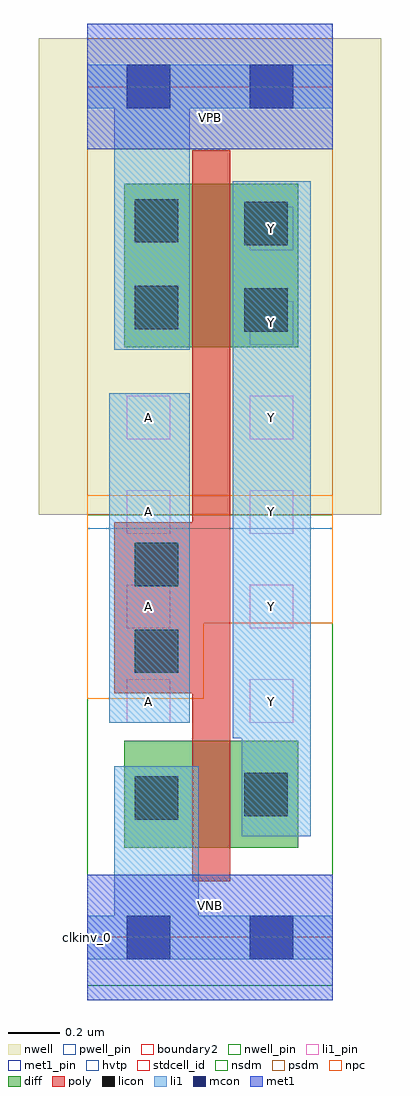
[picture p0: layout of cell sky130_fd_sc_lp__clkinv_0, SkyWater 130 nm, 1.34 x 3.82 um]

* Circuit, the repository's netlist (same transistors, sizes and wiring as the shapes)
* Copyright 2020 The SkyWater PDK Authors
*
* Licensed under the Apache License, Version 2.0 (the "License");
* you may not use this file except in compliance with the License.
* You may obtain a copy of the License at
*
*     https://www.apache.org/licenses/LICENSE-2.0
*
* Unless required by applicable law or agreed to in writing, software
* distributed under the License is distributed on an "AS IS" BASIS,
* WITHOUT WARRANTIES OR CONDITIONS OF ANY KIND, either express or implied.
* See the License for the specific language governing permissions and
* limitations under the License.
*
* SPDX-License-Identifier: Apache-2.0

.SUBCKT sky130_fd_sc_lp__clkinv_0 A VGND VNB VPB VPWR Y
*.PININFO A:I VGND:I VNB:I VPB:I VPWR:I Y:O
MMIP0 Y A VPWR VPB sky130_fd_pr__pfet_01v8_hvt m=1 w=0.64U l=0.15U mult=1 sa=0.265
+ sb=0.265 sd=0.28 area=0.063 perim=1.14
MMIN0 Y A VGND VNB sky130_fd_pr__nfet_01v8 m=1 w=0.42U l=0.15U mult=1 sa=0.265
+ sb=0.265 sd=0.28 area=0.063 perim=1.14
.ENDS sky130_fd_sc_lp__clkinv_0

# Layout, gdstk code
import gdstk
lib = gdstk.Library(unit=1e-6, precision=1e-09)
def R(c, l, rs):  # rectangles x0, y0, x1, y1
    for r in rs: c.add(gdstk.rectangle(r[:2], r[2:], *l))
def A(c, l, x, y, w, h, nx, ny, dx, dy):  # array of equal rectangles
    R(c, l, [(x+i*dx, y+j*dy, x+i*dx+w, y+j*dy+h) for i in range(nx) for j in range(ny)])
def P(c, l, *ps):  # polygons
    for p in ps: c.add(gdstk.Polygon(p, *l))
nwell_pin = (64, 16)
nwell = (64, 20)
diff = (65, 20)
poly = (66, 20)
licon = (66, 44)
li1_pin = (67, 16)
li1 = (67, 20)
mcon = (67, 44)
met1_pin = (68, 16)
met1 = (68, 20)
hvtp = (78, 44)
stdcell_id = (81, 4)
nsdm = (93, 44)
psdm = (94, 20)
npc = (95, 20)
pwell_pin = (122, 16)
boundary2 = (236, 0)

sky130_fd_sc_lp__clkinv_ = lib.new_cell('sky130_fd_sc_lp__clkinv_0')
R(sky130_fd_sc_lp__clkinv_, nwell_pin, [(0,3.085,0.96,3.33)])
R(sky130_fd_sc_lp__clkinv_, nwell, [(-0.19,1.655,1.15,3.52)])
R(sky130_fd_sc_lp__clkinv_, diff, [(0.145,0.35,0.825,0.77), (0.145,2.31,0.825,2.95)])
P(sky130_fd_sc_lp__clkinv_, poly, [(0.56,3.08),(0.41,3.08),(0.41,1.625),(0.105,1.625),(0.105,0.955),(0.41,0.955),(0.41,0.22),(0.56,0.22)])
R(sky130_fd_sc_lp__clkinv_, licon, [(0.185,0.46,0.355,0.63), (0.615,0.475,0.785,0.645), (0.185,1.035,0.355,1.205), (0.185,1.375,0.355,1.545), (0.615,2.37,0.785,2.54), (0.185,2.38,0.355,2.55), (0.615,2.71,0.785,2.88), (0.185,2.72,0.355,2.89)])
A(sky130_fd_sc_lp__clkinv_, li1_pin, 0.155, 0.84, 0.17, 0.17, 1, 4, 0, 0.37)
A(sky130_fd_sc_lp__clkinv_, li1_pin, 0.635, 0.84, 0.17, 0.17, 1, 6, 0, 0.37)
R(sky130_fd_sc_lp__clkinv_, li1, [(0.085,0.84,0.4,2.13)])
P(sky130_fd_sc_lp__clkinv_, li1, [(0.105,2.3),(0.105,3.245),(0,3.245),(0,3.415),(0.96,3.415),(0.96,3.245),(0.4,3.245),(0.4,2.3)],
  [(0.105,0.085),(0.105,0.67),(0.435,0.67),(0.435,0.085),(0.96,0.085),(0.96,-0.085),(0,-0.085),(0,0.085)],
  [(0.875,2.96),(0.57,2.96),(0.57,0.78),(0.605,0.78),(0.605,0.395),(0.875,0.395)])
R(sky130_fd_sc_lp__clkinv_, mcon, [(0.155,-0.085,0.325,0.085), (0.635,-0.085,0.805,0.085), (0.155,3.245,0.325,3.415), (0.635,3.245,0.805,3.415)])
R(sky130_fd_sc_lp__clkinv_, met1_pin, [(0,0,0.96,0.245), (0,3.085,0.96,3.33)])
R(sky130_fd_sc_lp__clkinv_, met1, [(0,-0.245,0.96,0.245), (0,3.085,0.96,3.575)])
R(sky130_fd_sc_lp__clkinv_, hvtp, [(0,1.6,0.96,3.33)])
R(sky130_fd_sc_lp__clkinv_, stdcell_id, [(0,0,0.96,3.33)])
R(sky130_fd_sc_lp__clkinv_, nsdm, [(0,-0.19,0.96,1.655)])
R(sky130_fd_sc_lp__clkinv_, psdm, [(0,1.655,0.96,3.52)])
P(sky130_fd_sc_lp__clkinv_, npc, [(0.96,1.73),(0,1.73),(0,0.935),(0.455,0.935),(0.455,1.23),(0.96,1.23)])
R(sky130_fd_sc_lp__clkinv_, pwell_pin, [(0,0,0.96,0.245)])
R(sky130_fd_sc_lp__clkinv_, boundary2, [(0,0,0.96,3.33)])
sky130_fd_sc_lp__clkinv_.add(gdstk.Label('VNB', (0.48,0.123), layer=64, texttype=59))
sky130_fd_sc_lp__clkinv_.add(gdstk.Label('VPB', (0.48,3.208), layer=64, texttype=5))
sky130_fd_sc_lp__clkinv_.add(gdstk.Label('clkinv_0', (0,0), layer=83, texttype=44))
sky130_fd_sc_lp__clkinv_.add(gdstk.Label('VPWR', (0.48,3.208), layer=68, texttype=5))
sky130_fd_sc_lp__clkinv_.add(gdstk.Label('VGND', (0.48,0.123), layer=68, texttype=5))
sky130_fd_sc_lp__clkinv_.add(gdstk.Label('A', (0.24,0.925), layer=67, texttype=5))
sky130_fd_sc_lp__clkinv_.add(gdstk.Label('A', (0.24,1.295), layer=67, texttype=5))
sky130_fd_sc_lp__clkinv_.add(gdstk.Label('A', (0.24,1.665), layer=67, texttype=5))
sky130_fd_sc_lp__clkinv_.add(gdstk.Label('A', (0.24,2.035), layer=67, texttype=5))
sky130_fd_sc_lp__clkinv_.add(gdstk.Label('Y', (0.72,0.925), layer=67, texttype=5))
sky130_fd_sc_lp__clkinv_.add(gdstk.Label('Y', (0.72,1.295), layer=67, texttype=5))
sky130_fd_sc_lp__clkinv_.add(gdstk.Label('Y', (0.72,1.665), layer=67, texttype=5))
sky130_fd_sc_lp__clkinv_.add(gdstk.Label('Y', (0.72,2.035), layer=67, texttype=5))
sky130_fd_sc_lp__clkinv_.add(gdstk.Label('Y', (0.72,2.405), layer=67, texttype=5))
sky130_fd_sc_lp__clkinv_.add(gdstk.Label('Y', (0.72,2.775), layer=67, texttype=5))

lib.write_gds('sky130_fd_sc_lp__clkinv_0.gds')
